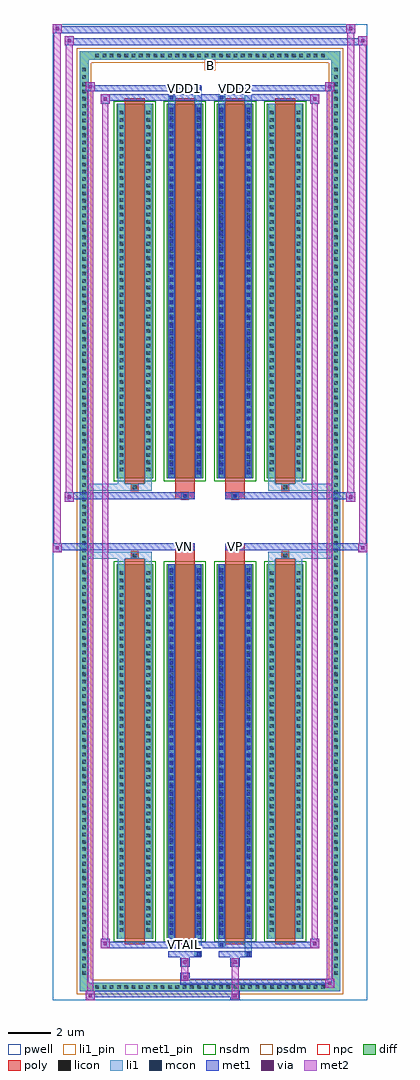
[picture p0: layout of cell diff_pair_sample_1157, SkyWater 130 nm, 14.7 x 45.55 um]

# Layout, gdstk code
import gdstk
lib = gdstk.Library(unit=1e-6, precision=5e-09)
def R(c, l, rs):  # rectangles x0, y0, x1, y1
    for r in rs: c.add(gdstk.rectangle(r[:2], r[2:], *l))
def A(c, l, x, y, w, h, nx, ny, dx, dy):  # array of equal rectangles
    R(c, l, [(x+i*dx, y+j*dy, x+i*dx+w, y+j*dy+h) for i in range(nx) for j in range(ny)])
def P(c, l, *ps):  # polygons
    for p in ps: c.add(gdstk.Polygon(p, *l))
pwell = (64, 44)
diff = (65, 20)
poly = (66, 20)
licon = (66, 44)
li1_pin = (67, 16)
li1 = (67, 20)
mcon = (67, 44)
met1_pin = (68, 16)
met1 = (68, 20)
via = (68, 44)
met2 = (69, 20)
nsdm = (93, 44)
psdm = (94, 20)
npc = (95, 20)

diff_pair_sample_1157 = lib.new_cell('diff_pair_sample_1157')
R(diff_pair_sample_1157, pwell, [(-7.35,-22.34,7.35,23.21), (-4.67,-20.53,-0.01,-0.825), (0.01,-20.53,4.67,-0.825), (-4.67,0.825,-0.01,20.53), (0.01,0.825,4.67,20.53)])
A(diff_pair_sample_1157, diff, -5.475, -21.94, 0.41, 0.41, 32, 2, 0.34, 43.47)
A(diff_pair_sample_1157, diff, -6.08, -21.285, 0.41, 0.41, 1, 125, 0, 0.34)
A(diff_pair_sample_1157, diff, 5.67, -21.285, 0.41, 0.41, 1, 125, 0, 0.34)
A(diff_pair_sample_1157, diff, -4.36, -19.485, 1.7, 17.48, 4, 2, 2.34, 21.49)
R(diff_pair_sample_1157, diff, [(-5.475,-21.94,5.475,-21.53), (-6.08,-21.285,-5.67,21.285), (5.67,-21.285,6.08,21.285), (-5.475,21.53,5.475,21.94)])
P(diff_pair_sample_1157, diff, [(6.08,21.94),(-6.08,21.94),(-6.08,-21.53),(-5.67,-21.53),(-5.67,21.53),(5.67,21.53),(5.67,-21.53),(-5.67,-21.53),(-6.08,-21.53),(-6.08,-21.94),(6.08,-21.94)])
A(diff_pair_sample_1157, poly, -3.97, -19.735, 0.92, 17.98, 4, 2, 2.34, 21.49)
R(diff_pair_sample_1157, poly, [(-3.675,-1.755,-3.345,-1.425), (-3.675,-1.755,-3.345,-1.425), (-1.63,-1.755,-0.71,-1.355), (0.71,-1.755,1.63,-1.355), (3.345,-1.755,3.675,-1.425), (3.345,-1.755,3.675,-1.425), (-1.63,-1.355,-0.71,-1.025), (-1.335,-1.355,-1.005,-1.025), (0.71,-1.355,1.63,-1.025), (1.005,-1.355,1.335,-1.025), (-1.63,1.025,-0.71,1.355), (-1.335,1.025,-1.005,1.355), (0.71,1.025,1.63,1.355), (1.005,1.025,1.335,1.355), (-1.63,1.355,-0.71,1.755), (0.71,1.355,1.63,1.755), (-3.675,1.425,-3.345,1.755), (-3.675,1.425,-3.345,1.755), (3.345,1.425,3.675,1.755), (3.345,1.425,3.675,1.755)])
A(diff_pair_sample_1157, licon, -5.355, -21.82, 0.17, 0.17, 32, 2, 0.34, 43.47)
A(diff_pair_sample_1157, licon, -5.96, -21.165, 0.17, 0.17, 1, 125, 0, 0.34)
A(diff_pair_sample_1157, licon, 5.79, -21.165, 0.17, 0.17, 1, 125, 0, 0.34)
A(diff_pair_sample_1157, licon, -4.22, -19.16, 0.17, 0.17, 1, 50, 0, 0.34)
A(diff_pair_sample_1157, licon, -2.97, -19.16, 0.17, 0.17, 1, 50, 0, 0.34)
A(diff_pair_sample_1157, licon, -1.88, -19.16, 0.17, 0.17, 1, 50, 0, 0.34)
A(diff_pair_sample_1157, licon, -0.63, -19.16, 0.17, 0.17, 1, 50, 0, 0.34)
A(diff_pair_sample_1157, licon, 0.46, -19.16, 0.17, 0.17, 1, 50, 0, 0.34)
A(diff_pair_sample_1157, licon, 1.71, -19.16, 0.17, 0.17, 1, 50, 0, 0.34)
A(diff_pair_sample_1157, licon, 2.8, -19.16, 0.17, 0.17, 1, 50, 0, 0.34)
A(diff_pair_sample_1157, licon, 4.05, -19.16, 0.17, 0.17, 1, 50, 0, 0.34)
A(diff_pair_sample_1157, licon, -4.22, 2.33, 0.17, 0.17, 1, 50, 0, 0.34)
A(diff_pair_sample_1157, licon, -2.97, 2.33, 0.17, 0.17, 1, 50, 0, 0.34)
A(diff_pair_sample_1157, licon, -1.88, 2.33, 0.17, 0.17, 1, 50, 0, 0.34)
A(diff_pair_sample_1157, licon, -0.63, 2.33, 0.17, 0.17, 1, 50, 0, 0.34)
A(diff_pair_sample_1157, licon, 0.46, 2.33, 0.17, 0.17, 1, 50, 0, 0.34)
A(diff_pair_sample_1157, licon, 1.71, 2.33, 0.17, 0.17, 1, 50, 0, 0.34)
A(diff_pair_sample_1157, licon, 2.8, 2.33, 0.17, 0.17, 1, 50, 0, 0.34)
A(diff_pair_sample_1157, licon, 4.05, 2.33, 0.17, 0.17, 1, 50, 0, 0.34)
R(diff_pair_sample_1157, licon, [(-3.595,-1.675,-3.425,-1.505), (3.425,-1.675,3.595,-1.505), (-1.255,-1.275,-1.085,-1.105), (1.085,-1.275,1.255,-1.105), (-1.255,1.105,-1.085,1.275), (1.085,1.105,1.255,1.275), (-3.595,1.505,-3.425,1.675), (3.425,1.505,3.595,1.675)])
R(diff_pair_sample_1157, li1_pin, [(-0.25,21.03,0.25,21.53)])
A(diff_pair_sample_1157, li1, -5.435, -21.9, 0.33, 0.33, 32, 2, 0.34, 43.47)
A(diff_pair_sample_1157, li1, -6.04, -21.245, 0.33, 0.33, 1, 125, 0, 0.34)
A(diff_pair_sample_1157, li1, 5.71, -21.245, 0.33, 0.33, 1, 125, 0, 0.34)
A(diff_pair_sample_1157, li1, -1.88, -19.29, 0.17, 0.17, 1, 48, 0, 0.36)
A(diff_pair_sample_1157, li1, -0.63, -19.29, 0.17, 0.17, 1, 48, 0, 0.36)
A(diff_pair_sample_1157, li1, 0.46, -19.29, 0.17, 0.17, 1, 48, 0, 0.36)
A(diff_pair_sample_1157, li1, 1.71, -19.29, 0.17, 0.17, 1, 48, 0, 0.36)
A(diff_pair_sample_1157, li1, -4.3, -19.24, 0.33, 0.33, 1, 50, 0, 0.34)
A(diff_pair_sample_1157, li1, -3.05, -19.24, 0.33, 0.33, 1, 50, 0, 0.34)
A(diff_pair_sample_1157, li1, -1.96, -19.24, 0.33, 0.33, 1, 50, 0, 0.34)
A(diff_pair_sample_1157, li1, -0.71, -19.24, 0.33, 0.33, 1, 50, 0, 0.34)
A(diff_pair_sample_1157, li1, 0.38, -19.24, 0.33, 0.33, 1, 50, 0, 0.34)
A(diff_pair_sample_1157, li1, 1.63, -19.24, 0.33, 0.33, 1, 50, 0, 0.34)
A(diff_pair_sample_1157, li1, 2.72, -19.24, 0.33, 0.33, 1, 50, 0, 0.34)
A(diff_pair_sample_1157, li1, 3.97, -19.24, 0.33, 0.33, 1, 50, 0, 0.34)
A(diff_pair_sample_1157, li1, -1.88, 2.2, 0.17, 0.17, 1, 48, 0, 0.36)
A(diff_pair_sample_1157, li1, -0.63, 2.2, 0.17, 0.17, 1, 48, 0, 0.36)
A(diff_pair_sample_1157, li1, 0.46, 2.2, 0.17, 0.17, 1, 48, 0, 0.36)
A(diff_pair_sample_1157, li1, 1.71, 2.2, 0.17, 0.17, 1, 48, 0, 0.36)
A(diff_pair_sample_1157, li1, -4.3, 2.25, 0.33, 0.33, 1, 50, 0, 0.34)
A(diff_pair_sample_1157, li1, -3.05, 2.25, 0.33, 0.33, 1, 50, 0, 0.34)
A(diff_pair_sample_1157, li1, -1.96, 2.25, 0.33, 0.33, 1, 50, 0, 0.34)
A(diff_pair_sample_1157, li1, -0.71, 2.25, 0.33, 0.33, 1, 50, 0, 0.34)
A(diff_pair_sample_1157, li1, 0.38, 2.25, 0.33, 0.33, 1, 50, 0, 0.34)
A(diff_pair_sample_1157, li1, 1.63, 2.25, 0.33, 0.33, 1, 50, 0, 0.34)
A(diff_pair_sample_1157, li1, 2.72, 2.25, 0.33, 0.33, 1, 50, 0, 0.34)
A(diff_pair_sample_1157, li1, 3.97, 2.25, 0.33, 0.33, 1, 50, 0, 0.34)
R(diff_pair_sample_1157, li1, [(-6.08,-21.94,-5.67,-21.53), (-6.08,-21.94,-5.67,-21.53), (-5.67,-21.94,5.67,-21.53), (5.67,-21.94,6.08,-21.53), (5.67,-21.94,6.08,-21.53), (-6.08,-21.53,-5.67,21.53), (5.67,-21.53,6.08,21.53), (-0.71,-20.29,-0.38,-19.485), (-0.63,-20.29,-0.46,-20.12), (1.63,-20.29,1.96,-19.485), (1.71,-20.29,1.88,-20.12), (-1.96,-19.86,-1.63,-19.485), (-1.88,-19.86,-1.71,-19.69), (0.38,-19.86,0.71,-19.485), (0.46,-19.86,0.63,-19.69), (-4.3,-19.485,-3.97,-2.005), (-3.05,-19.485,-2.72,-2.005), (-1.96,-19.485,-1.63,-2.005), (-0.71,-19.485,-0.38,-2.005), (0.38,-19.485,0.71,-2.005), (1.63,-19.485,1.96,-2.005), (2.72,-19.485,3.05,-2.005), (3.97,-19.485,4.3,-2.005), (-1.88,-19.29,-1.71,-2.2), (-0.63,-19.29,-0.46,-2.2), (0.46,-19.29,0.63,-2.2), (1.71,-19.29,1.88,-2.2), (-4.3,-2.005,-3.97,-1.425), (-3.05,-2.005,-2.72,-1.425), (2.72,-2.005,3.05,-1.425), (3.97,-2.005,4.3,-1.425), (-6.08,-1.755,-3.675,-1.425), (-4.3,-1.755,-3.675,-1.425), (-3.675,-1.755,-3.345,-1.425), (-3.345,-1.755,-2.72,-1.425), (2.72,-1.755,3.345,-1.425), (3.345,-1.755,3.675,-1.425), (3.345,-1.755,6.08,-1.425), (3.675,-1.755,4.3,-1.425), (-1.335,-1.355,-1.005,-1.025), (1.005,-1.355,1.335,-1.025), (-1.335,1.025,-1.005,1.355), (1.005,1.025,1.335,1.355), (-6.08,1.425,-3.675,1.755), (-4.3,1.425,-3.675,1.755), (-4.3,1.425,-3.97,2.005), (-3.675,1.425,-3.345,1.755), (-3.345,1.425,-2.72,1.755), (-3.05,1.425,-2.72,2.005), (2.72,1.425,3.345,1.755), (2.72,1.425,3.05,2.005), (3.345,1.425,3.675,1.755), (3.345,1.425,6.08,1.755), (3.675,1.425,4.3,1.755), (3.97,1.425,4.3,2.005), (-4.3,2.005,-3.97,19.485), (-3.05,2.005,-2.72,19.485), (-1.96,2.005,-1.63,19.485), (-0.71,2.005,-0.38,19.485), (0.38,2.005,0.71,19.485), (1.63,2.005,1.96,19.485), (2.72,2.005,3.05,19.485), (3.97,2.005,4.3,19.485), (-1.88,2.2,-1.71,19.29), (-0.63,2.2,-0.46,19.29), (0.46,2.2,0.63,19.29), (1.71,2.2,1.88,19.29), (-1.96,19.485,-1.63,19.86), (-0.71,19.485,-0.38,20.29), (0.38,19.485,0.71,19.86), (1.63,19.485,1.96,20.29), (-1.88,19.69,-1.71,19.86), (0.46,19.69,0.63,19.86), (-0.63,20.12,-0.46,20.29), (1.71,20.12,1.88,20.29), (-6.08,21.53,-5.67,21.94), (-6.08,21.53,-5.67,21.94), (-5.67,21.53,5.67,21.94), (5.67,21.53,6.08,21.94), (5.67,21.53,6.08,21.94)])
A(diff_pair_sample_1157, mcon, -1.88, -19.29, 0.17, 0.17, 1, 48, 0, 0.36)
A(diff_pair_sample_1157, mcon, -0.63, -19.29, 0.17, 0.17, 1, 48, 0, 0.36)
A(diff_pair_sample_1157, mcon, 0.46, -19.29, 0.17, 0.17, 1, 48, 0, 0.36)
A(diff_pair_sample_1157, mcon, 1.71, -19.29, 0.17, 0.17, 1, 48, 0, 0.36)
A(diff_pair_sample_1157, mcon, -1.88, 2.2, 0.17, 0.17, 1, 48, 0, 0.36)
A(diff_pair_sample_1157, mcon, -0.63, 2.2, 0.17, 0.17, 1, 48, 0, 0.36)
A(diff_pair_sample_1157, mcon, 0.46, 2.2, 0.17, 0.17, 1, 48, 0, 0.36)
A(diff_pair_sample_1157, mcon, 1.71, 2.2, 0.17, 0.17, 1, 48, 0, 0.36)
R(diff_pair_sample_1157, mcon, [(-0.63,-20.29,-0.46,-20.12), (1.71,-20.29,1.88,-20.12), (-1.88,-19.86,-1.71,-19.69), (0.46,-19.86,0.63,-19.69), (-1.255,-1.275,-1.085,-1.105), (1.085,-1.275,1.255,-1.105), (-1.255,1.105,-1.085,1.275), (1.085,1.105,1.255,1.275), (-1.88,19.69,-1.71,19.86), (0.46,19.69,0.63,19.86), (-0.63,20.12,-0.46,20.29), (1.71,20.12,1.88,20.29)])
R(diff_pair_sample_1157, met1_pin, [(-1.305,-19.9,-1.035,-19.63), (-1.305,-1.295,-1.035,-1.025), (1.035,-1.295,1.305,-1.025), (-1.305,20.08,-1.035,20.35), (1.035,20.08,1.305,20.35)])
A(diff_pair_sample_1157, met1, -1.94, -19.35, 0.29, 0.29, 1, 48, 0, 0.36)
A(diff_pair_sample_1157, met1, -0.69, -19.35, 0.29, 0.29, 1, 48, 0, 0.36)
A(diff_pair_sample_1157, met1, 0.4, -19.35, 0.29, 0.29, 1, 48, 0, 0.36)
A(diff_pair_sample_1157, met1, 1.65, -19.35, 0.29, 0.29, 1, 48, 0, 0.36)
A(diff_pair_sample_1157, met1, -1.94, 2.14, 0.29, 0.29, 1, 48, 0, 0.36)
A(diff_pair_sample_1157, met1, -0.69, 2.14, 0.29, 0.29, 1, 48, 0, 0.36)
A(diff_pair_sample_1157, met1, 0.4, 2.14, 0.29, 0.29, 1, 48, 0, 0.36)
A(diff_pair_sample_1157, met1, 1.65, 2.14, 0.29, 0.29, 1, 48, 0, 0.36)
R(diff_pair_sample_1157, met1, [(-5.81,-22.34,-5.38,-21.91), (0.955,-22.34,1.385,-21.91), (-5.81,-22.2,1.385,-21.91), (5.38,-21.77,5.81,-21.34), (-1.385,-21.63,5.81,-21.34), (-1.385,-21.49,-0.955,-21.06), (-1.385,-20.78,-0.955,-20.35), (0.955,-20.78,1.385,-20.35), (-1.94,-20.35,-0.4,-20.06), (-0.69,-20.35,-0.4,-20.06), (0.4,-20.35,1.94,-20.06), (1.65,-20.35,1.94,-20.06), (-5.1,-19.92,-4.67,-19.49), (-5.1,-19.92,-1.94,-19.63), (-1.94,-19.92,-1.65,-19.63), (-1.94,-19.92,-0.4,-19.63), (-0.4,-19.92,0.4,-19.63), (0.4,-19.92,0.69,-19.63), (0.4,-19.92,1.94,-19.63), (1.94,-19.92,5.1,-19.63), (4.67,-19.92,5.1,-19.49), (-1.94,-19.485,-1.65,-2.005), (-0.69,-19.485,-0.4,-2.005), (0.4,-19.485,0.69,-2.005), (1.65,-19.485,1.94,-2.005), (-7.35,-1.455,-6.92,-1.025), (6.92,-1.455,7.35,-1.025), (-7.35,-1.355,-0.71,-1.025), (-1.63,-1.355,-0.71,-1.025), (0.71,-1.355,1.63,-1.025), (0.71,-1.355,7.35,-1.025), (-1.315,-1.335,-1.025,-1.045), (1.025,-1.335,1.315,-1.045), (-6.78,0.925,-6.35,1.355), (6.35,0.925,6.78,1.355), (-6.78,1.025,-1.63,1.355), (-1.63,1.025,-0.71,1.355), (0.71,1.025,1.63,1.355), (1.63,1.025,6.78,1.355), (-1.315,1.045,-1.025,1.335), (1.025,1.045,1.315,1.335), (-1.94,2.005,-1.65,19.485), (-0.69,2.005,-0.4,19.485), (0.4,2.005,0.69,19.485), (1.65,2.005,1.94,19.485), (-5.1,19.49,-4.67,19.92), (4.67,19.49,5.1,19.92), (-5.1,19.63,-1.94,19.92), (-1.94,19.63,-1.65,19.92), (-1.94,19.63,-0.4,19.92), (-0.4,19.63,0.4,19.92), (0.4,19.63,0.69,19.92), (0.4,19.63,1.94,19.92), (1.94,19.63,5.1,19.92), (-5.81,20.06,-5.38,20.49), (-5.81,20.06,-1.94,20.35), (-1.94,20.06,-0.4,20.35), (-0.69,20.06,-0.4,20.35), (0.4,20.06,1.94,20.35), (1.65,20.06,1.94,20.35), (1.94,20.06,5.81,20.35), (5.38,20.06,5.81,20.49), (-6.78,22.21,-6.35,22.64), (-6.78,22.21,-4.67,22.54), (-4.67,22.21,4.67,22.54), (4.67,22.21,7.35,22.54), (6.92,22.21,7.35,22.64), (-7.35,22.78,-6.92,23.21), (-7.35,22.78,-4.67,23.11), (-4.67,22.78,4.67,23.11), (4.67,22.78,6.78,23.11), (6.35,22.78,6.78,23.21)])
R(diff_pair_sample_1157, via, [(-5.67,-22.2,-5.52,-22.05), (1.095,-22.2,1.245,-22.05), (5.52,-21.63,5.67,-21.48), (-1.245,-21.35,-1.095,-21.2), (-1.245,-20.64,-1.095,-20.49), (1.095,-20.64,1.245,-20.49), (-4.96,-19.78,-4.81,-19.63), (4.81,-19.78,4.96,-19.63), (-7.21,-1.315,-7.06,-1.165), (7.06,-1.315,7.21,-1.165), (-6.64,1.065,-6.49,1.215), (6.49,1.065,6.64,1.215), (-4.96,19.63,-4.81,19.78), (4.81,19.63,4.96,19.78), (-5.67,20.2,-5.52,20.35), (5.52,20.2,5.67,20.35), (-6.64,22.35,-6.49,22.5), (7.06,22.35,7.21,22.5), (-7.21,22.92,-7.06,23.07), (6.49,22.92,6.64,23.07)])
R(diff_pair_sample_1157, met2, [(-5.81,-22.34,-5.38,-21.91), (-5.74,-22.34,-5.45,20.49), (-5.45,-22.34,-5.38,-21.91), (-5.76,-22.29,-5.43,-21.96), (1.005,-22.29,1.335,-21.96), (1.005,-21.96,1.335,-20.73), (5.38,-21.77,5.81,-21.34), (5.45,-21.77,5.74,20.49), (5.74,-21.77,5.81,-21.34), (5.43,-21.72,5.76,-21.39), (-1.335,-21.44,-1.005,-21.11), (-1.335,-21.11,-1.005,-20.73), (-1.335,-20.73,-1.005,-20.4), (1.005,-20.73,1.335,-20.4), (-5.1,-19.92,-4.67,-19.49), (-5.03,-19.92,-4.74,19.92), (-4.74,-19.92,-4.67,-19.49), (4.67,-19.92,5.1,-19.49), (4.74,-19.92,5.03,19.92), (5.03,-19.92,5.1,-19.49), (-5.05,-19.87,-4.72,-19.54), (4.72,-19.87,5.05,-19.54), (-7.35,-1.455,-6.92,-1.025), (-7.3,-1.455,-6.97,23.21), (-6.97,-1.455,-6.92,-1.025), (6.92,-1.455,7.35,-1.025), (6.97,-1.455,7.3,22.64), (7.3,-1.455,7.35,-1.025), (-7.3,-1.405,-6.97,-1.075), (6.97,-1.405,7.3,-1.075), (-6.78,0.925,-6.35,1.355), (-6.73,0.925,-6.4,22.64), (-6.4,0.925,-6.35,1.355), (6.35,0.925,6.78,1.355), (6.4,0.925,6.73,23.21), (6.73,0.925,6.78,1.355), (-6.73,0.975,-6.4,1.305), (6.4,0.975,6.73,1.305), (-5.1,19.49,-4.67,19.92), (-4.74,19.49,-4.67,19.92), (4.67,19.49,5.1,19.92), (5.03,19.49,5.1,19.92), (-5.05,19.54,-4.72,19.87), (4.72,19.54,5.05,19.87), (-5.81,20.06,-5.38,20.49), (-5.45,20.06,-5.38,20.49), (5.38,20.06,5.81,20.49), (5.74,20.06,5.81,20.49), (-5.76,20.11,-5.43,20.44), (5.43,20.11,5.76,20.44), (-6.78,22.21,-6.35,22.64), (-6.4,22.21,-6.35,22.64), (6.92,22.21,7.35,22.64), (7.3,22.21,7.35,22.64), (-6.73,22.26,-6.4,22.59), (6.97,22.26,7.3,22.59), (-7.35,22.78,-6.92,23.21), (-6.97,22.78,-6.92,23.21), (6.35,22.78,6.78,23.21), (6.73,22.78,6.78,23.21), (-7.3,22.83,-6.97,23.16), (6.4,22.83,6.73,23.16)])
A(diff_pair_sample_1157, nsdm, -4.49, -19.615, 1.96, 17.74, 4, 2, 2.34, 21.49)
P(diff_pair_sample_1157, psdm, [(6.21,22.07),(-6.21,22.07),(-6.21,-21.4),(-5.54,-21.4),(-5.54,21.4),(5.54,21.4),(5.54,-21.4),(-5.54,-21.4),(-6.21,-21.4),(-6.21,-22.07),(6.21,-22.07)])
R(diff_pair_sample_1157, npc, [(-3.695,-1.775,-3.325,-1.405), (3.325,-1.775,3.695,-1.405), (-1.355,-1.375,-0.985,-1.005), (0.985,-1.375,1.355,-1.005), (-1.355,1.005,-0.985,1.375), (0.985,1.005,1.355,1.375), (-3.695,1.405,-3.325,1.775), (3.325,1.405,3.695,1.775)])
diff_pair_sample_1157.add(gdstk.Label('VTAIL', (-1.17,-19.765), layer=68, texttype=5))
diff_pair_sample_1157.add(gdstk.Label('VN', (-1.17,-1.16), layer=68, texttype=5))
diff_pair_sample_1157.add(gdstk.Label('VP', (1.17,-1.16), layer=68, texttype=5))
diff_pair_sample_1157.add(gdstk.Label('B', (0,21.28), layer=67, texttype=5))
diff_pair_sample_1157.add(gdstk.Label('VDD2', (1.17,20.215), layer=68, texttype=5))
diff_pair_sample_1157.add(gdstk.Label('VDD1', (-1.17,20.215), layer=68, texttype=5))

lib.write_gds('diff_pair_sample_1157.gds')
